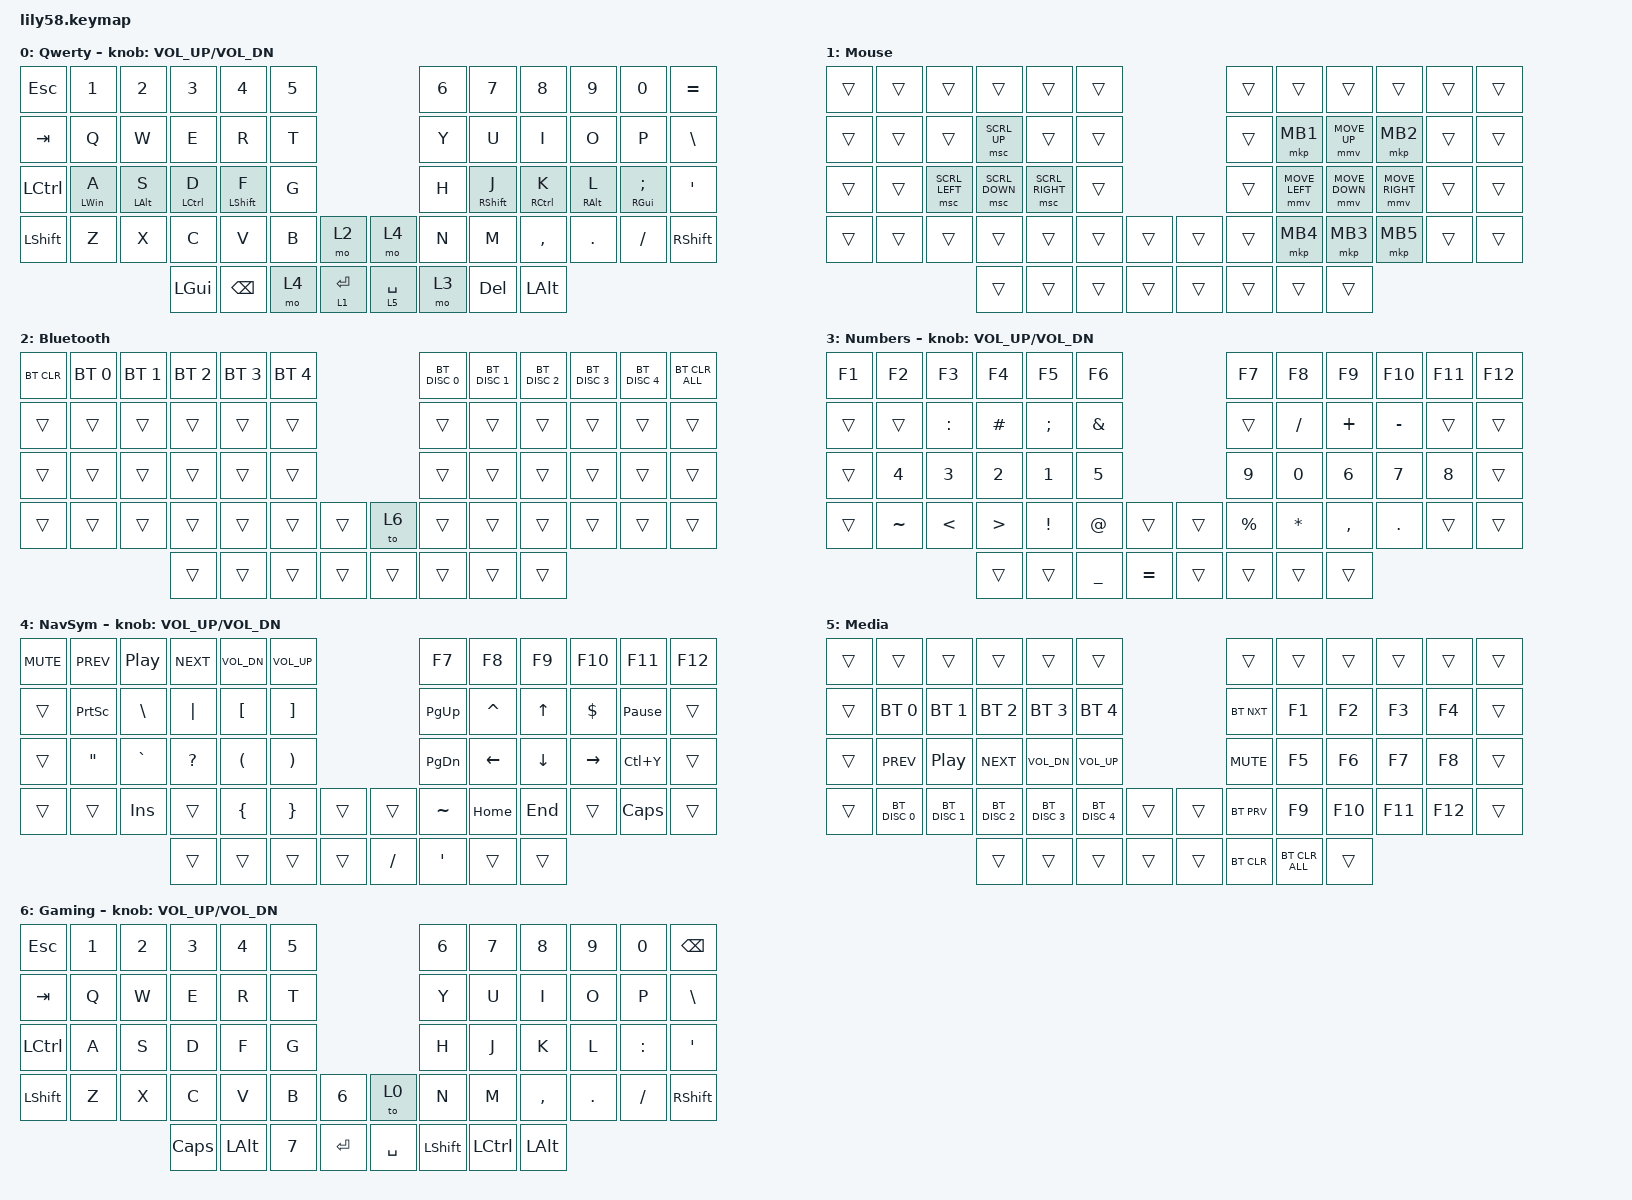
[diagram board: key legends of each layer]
/*
 * Copyright (c) 2020 The ZMK Contributors
 *
 * SPDX-License-Identifier: MIT
 */

#include <behaviors.dtsi>
#include <dt-bindings/zmk/bt.h>
#include <dt-bindings/zmk/keys.h>
#include <dt-bindings/zmk/pointing.h>

/ {
    behaviors {
        hrm_right: hrm_right {
            compatible = "zmk,behavior-hold-tap";
            label = "HRM_RIGHT";
            bindings = <&kp>, <&kp>;

            #binding-cells = <2>;
            tapping-term-ms = <200>;
            hold-trigger-key-positions = <1 2 3 4 5 13 14 15 16 17 25 26 27 28 29 37 38 39 40 41>;
            flavor = "balanced";
            require-prior-idle-ms = <400>;
            quick-tap-ms = <200>;
        };

        hrm_left: hrm_left {
            compatible = "zmk,behavior-hold-tap";
            label = "HRM_LEFT";
            bindings = <&kp>, <&kp>;

            #binding-cells = <2>;
            tapping-term-ms = <200>;
            hold-trigger-key-positions = <6 7 8 9 10 18 19 20 21 22 30 31 32 33 34 35 44 45 46 47 48 11 23>;
            flavor = "balanced";
            require-prior-idle-ms = <400>;
            quick-tap-ms = <200>;
        };

        hrm_rshift: hrm_rshift {
            compatible = "zmk,behavior-hold-tap";
            label = "HRM_RSHIFT";
            bindings = <&kp>, <&kp>;

            #binding-cells = <2>;
            tapping-term-ms = <200>;
            hold-trigger-key-positions = <1 2 3 4 5 13 14 15 16 17 25 26 27 28 29 37 38 39 40 41>;
            flavor = "balanced";
            quick-tap-ms = <200>;
        };

        hrm_lshift: hrm_lshift {
            compatible = "zmk,behavior-hold-tap";
            label = "HRM_LSHIFT";
            bindings = <&kp>, <&kp>;

            #binding-cells = <2>;
            tapping-term-ms = <200>;
            hold-trigger-key-positions = <6 7 8 9 10 18 19 20 21 22 30 31 32 33 34 35 44 45 46 47 48 23 11>;
            flavor = "balanced";
            quick-tap-ms = <200>;
        };

        hrm_right_long: hrm_right_long {
            compatible = "zmk,behavior-hold-tap";
            label = "HRM_RIGHT_LONG";
            bindings = <&kp>, <&kp>;

            #binding-cells = <2>;
            tapping-term-ms = <200>;
            hold-trigger-key-positions = <1 2 3 4 5 13 14 15 16 17 25 26 27 28 29 37 38 39 40 41>;
            flavor = "tap-preferred";
            require-prior-idle-ms = <400>;
            quick-tap-ms = <200>;
        };

        hrm_left_long: hrm_left_long {
            compatible = "zmk,behavior-hold-tap";
            label = "HRM_LEFT_LONG";
            bindings = <&kp>, <&kp>;

            #binding-cells = <2>;
            tapping-term-ms = <200>;
            hold-trigger-key-positions = <6 7 8 9 10 18 19 20 21 22 30 31 32 33 34 35 44 45 46 47 48 11 23>;
            flavor = "tap-preferred";
            require-prior-idle-ms = <400>;
            quick-tap-ms = <200>;
        };

        mod_tap_left: mod_tap_left {
            compatible = "zmk,behavior-hold-tap";
            label = "MOD_TAP_LEFT";
            bindings = <&mo>, <&kp>;

            #binding-cells = <2>;
            tapping-term-ms = <200>;
            hold-trigger-key-positions = <6 7 8 9 10 18 19 20 21 22 30 31 32 33 34 35 44 45 46 47 48 11 23>;
            flavor = "tap-preferred";
            require-prior-idle-ms = <400>;
            quick-tap-ms = <200>;
        };

        mod_tap_right: mod_tap_right {
            compatible = "zmk,behavior-hold-tap";
            label = "MOD_TAP_RIGHT";
            bindings = <&mo>, <&kp>;

            #binding-cells = <2>;
            tapping-term-ms = <200>;
            hold-trigger-key-positions = <1 2 3 4 5 13 14 15 16 17 25 26 27 28 29 37 38 39 40 41>;
            flavor = "tap-preferred";
            require-prior-idle-ms = <400>;
            quick-tap-ms = <200>;
        };
    };

    combos {
        compatible = "zmk,combos";

        caps_word {
            bindings = <&caps_word>;
            key-positions = <28 26>;
            layers = <0>;
            require-prior-idle-ms = <250>;
        };

        escape {
            bindings = <&kp ESC>;
            key-positions = <28 27>;
            layers = <0 3 2>;
        };

        tab {
            bindings = <&kp TAB>;
            key-positions = <31 32>;
            layers = <0 2 3>;
        };

        lock_screen {
            bindings = <&lock_screen>;
            key-positions = <1 0>;
            require-prior-idle-ms = <250>;
            layers = <0>;
        };

        comment {
            bindings = <&ctrl_fslh>;
            key-positions = <31 33>;
            layers = <0 3 2>;
        };
    };

    macros {
        lock_screen: lock_screen {
            compatible = "zmk,behavior-macro";
            #binding-cells = <0>;
            bindings = <&kp LG(L)>;
            label = "LOCK_SCREEN";
        };

        ctrl_fslh: ctrl_fslh {
            compatible = "zmk,behavior-macro";
            #binding-cells = <0>;
            bindings = <&kp LC(FSLH)>;
            label = "CTRL_FSLH";
        };
    };

    keymap {
        compatible = "zmk,keymap";

        Qwerty {
            display-name = "Qwerty";
            bindings = <
&kp ESCAPE  &kp N1                 &kp N2            &kp N3             &kp N4               &kp N5                                                 &kp N6  &kp N7               &kp N8              &kp N9             &kp N0                     &kp EQUAL
&kp TAB     &kp Q                  &kp W             &kp E              &kp R                &kp T                                                  &kp Y   &kp U                &kp I               &kp O              &kp P                      &kp BACKSLASH
&kp LCTRL   &hrm_left_long LWIN A  &hrm_left LALT S  &hrm_left LCTRL D  &hrm_lshift LSHFT F  &kp G                                                  &kp H   &hrm_rshift RSHFT J  &hrm_right RCTRL K  &hrm_right RALT L  &hrm_right_long RGUI SEMI  &kp SINGLE_QUOTE
&kp LSHFT   &kp Z                  &kp X             &kp C              &kp V                &kp B   &mo 2                  &mo 4                   &kp N   &kp M                &kp COMMA           &kp DOT            &kp FSLH                   &kp RSHFT
                                                     &kp LGUI           &kp BSPC             &mo 4   &mod_tap_left 1 RET    &mod_tap_right 5 SPACE  &mo 3   &kp DEL              &kp LALT
            >;

            sensor-bindings = <&inc_dec_kp C_VOL_UP C_VOL_DN>;
        };

        Mouse {
            bindings = <
&trans  &trans  &trans          &trans          &trans           &trans                    &trans  &trans          &trans          &trans           &trans  &trans
&trans  &trans  &trans          &msc SCRL_UP    &trans           &trans                    &trans  &mkp MB1        &mmv MOVE_UP    &mkp MB2         &trans  &trans
&trans  &trans  &msc SCRL_LEFT  &msc SCRL_DOWN  &msc SCRL_RIGHT  &trans                    &trans  &mmv MOVE_LEFT  &mmv MOVE_DOWN  &mmv MOVE_RIGHT  &trans  &trans
&trans  &trans  &trans          &trans          &trans           &trans  &trans    &trans  &trans  &mkp MB4        &mkp MB3        &mkp MB5         &trans  &trans
                                &trans          &trans           &trans  &trans    &trans  &trans  &trans          &trans
            >;

            label = "Mouse";
        };

        Bluetooth {
            bindings = <
&bt BT_CLR  &bt BT_SEL 0  &bt BT_SEL 1  &bt BT_SEL 2  &bt BT_SEL 3  &bt BT_SEL 4                    &bt BT_DISC 0  &bt BT_DISC 1  &bt BT_DISC 2  &bt BT_DISC 3  &bt BT_DISC 4  &bt BT_CLR_ALL
&trans      &trans        &trans        &trans        &trans        &trans                          &trans         &trans         &trans         &trans         &trans         &trans
&trans      &trans        &trans        &trans        &trans        &trans                          &trans         &trans         &trans         &trans         &trans         &trans
&trans      &trans        &trans        &trans        &trans        &trans        &trans    &to 6   &trans         &trans         &trans         &trans         &trans         &trans
                                        &trans        &trans        &trans        &trans    &trans  &trans         &trans         &trans
            >;

            label = "Bluetooth";
        };

        Numbers {
            display-name = "Numbers";
            bindings = <
&kp F1  &kp F2     &kp F3     &kp F4    &kp F5    &kp F6                          &kp F7     &kp F8    &kp F9     &kp F10    &kp F11  &kp F12
&trans  &trans     &kp COLON  &kp HASH  &kp SEMI  &kp AMPS                        &trans     &kp FSLH  &kp PLUS   &kp MINUS  &trans   &trans
&trans  &kp N4     &kp N3     &kp N2    &kp N1    &kp N5                          &kp N9     &kp N0    &kp N6     &kp N7     &kp N8   &trans
&trans  &kp TILDE  &kp LT     &kp GT    &kp EXCL  &kp AT     &trans       &trans  &kp PRCNT  &kp STAR  &kp COMMA  &kp DOT    &trans   &trans
                              &trans    &trans    &kp UNDER  &kp EQUAL    &trans  &trans     &trans    &trans
            >;

            sensor-bindings = <&inc_dec_kp C_VOL_UP C_VOL_DN>;
        };

        NavSym {
            display-name = "NavSym";
            bindings = <
&kp C_MUTE  &kp C_PREV       &kp C_PLAY_PAUSE  &kp C_NEXT  &kp C_VOL_DN  &kp C_VOL_UP                         &kp F7     &kp F8     &kp F9        &kp F10    &kp F11          &kp F12
&trans      &kp PRINTSCREEN  &kp BSLH          &kp PIPE    &kp LBKT      &kp RBKT                             &kp PG_UP  &kp CARET  &kp UP_ARROW  &kp DLLR   &kp PAUSE_BREAK  &trans
&trans      &kp DQT          &kp GRAVE         &kp QMARK   &kp LPAR      &kp RPAR                             &kp PG_DN  &kp LEFT   &kp DOWN      &kp RIGHT  &kp LC(Y)        &trans
&trans      &trans           &kp INS           &trans      &kp LBRC      &kp RIGHT_BRACE  &trans    &trans    &kp TILDE  &kp HOME   &kp END       &trans     &kp CAPS         &trans
                                               &trans      &trans        &trans           &trans    &kp FSLH  &kp SQT    &trans     &trans
            >;

            sensor-bindings = <&inc_dec_kp C_VOL_UP C_VOL_DN>;
        };

        Media {
            bindings = <
&trans  &trans         &trans         &trans         &trans         &trans                           &trans      &trans          &trans   &trans   &trans   &trans
&trans  &bt BT_SEL 0   &bt BT_SEL 1   &bt BT_SEL 2   &bt BT_SEL 3   &bt BT_SEL 4                     &bt BT_NXT  &kp F1          &kp F2   &kp F3   &kp F4   &trans
&trans  &kp C_PREV     &kp C_PP       &kp C_NEXT     &kp C_VOL_DN   &kp C_VOL_UP                     &kp C_MUTE  &kp F5          &kp F6   &kp F7   &kp F8   &trans
&trans  &bt BT_DISC 0  &bt BT_DISC 1  &bt BT_DISC 2  &bt BT_DISC 3  &bt BT_DISC 4  &trans    &trans  &bt BT_PRV  &kp F9          &kp F10  &kp F11  &kp F12  &trans
                                      &trans         &trans         &trans         &trans    &trans  &bt BT_CLR  &bt BT_CLR_ALL  &trans
            >;

            label = "Media";
        };

        Gaming {
            display-name = "Gaming";
            bindings = <
&kp ESCAPE  &kp N1  &kp N2  &kp N3    &kp N4    &kp N5                        &kp N6     &kp N7     &kp N8     &kp N9   &kp N0     &kp BACKSPACE
&kp TAB     &kp Q   &kp W   &kp E     &kp R     &kp T                         &kp Y      &kp U      &kp I      &kp O    &kp P      &kp BACKSLASH
&kp LCTRL   &kp A   &kp S   &kp D     &kp F     &kp G                         &kp H      &kp J      &kp K      &kp L    &kp COLON  &kp SINGLE_QUOTE
&kp LSHFT   &kp Z   &kp X   &kp C     &kp V     &kp B   &kp N6     &to 0      &kp N      &kp M      &kp COMMA  &kp DOT  &kp FSLH   &kp RSHFT
                            &kp CLCK  &kp LALT  &kp N7  &kp RET    &kp SPACE  &kp LSHFT  &kp LCTRL  &kp LALT
            >;

            sensor-bindings = <&inc_dec_kp C_VOL_UP C_VOL_DN>;
        };
    };

    conditional_layers { compatible = "zmk,conditional-layers"; };
};
